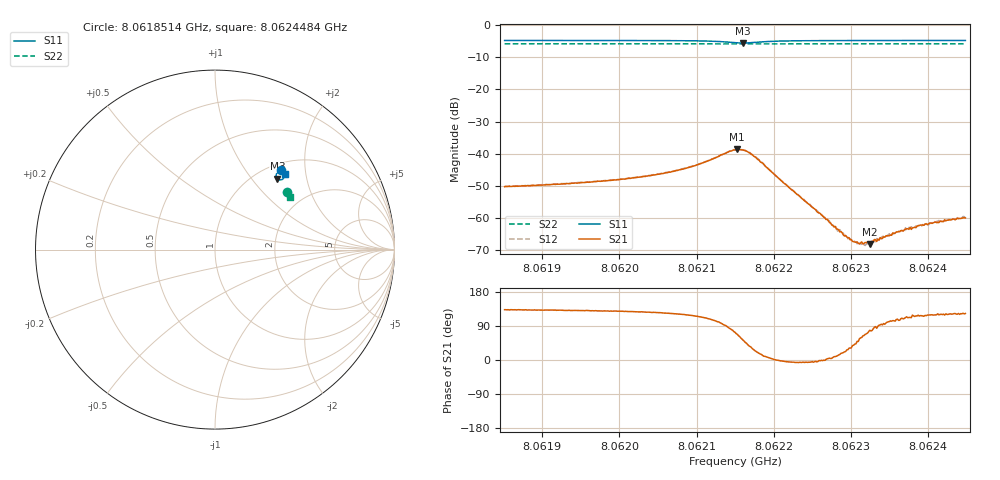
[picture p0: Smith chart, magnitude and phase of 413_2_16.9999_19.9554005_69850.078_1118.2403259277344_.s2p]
#  HZ  S  RI  R  50.00
! Rohde & Schwarz Vector Network Analyzer
! Rohde-Schwarz,ZNB20-2Port,1311601062101988,3.16
! Created: UTC 3/20/2024, 11:10:38 PM
! freq[Hz]  re:S11  im:S11  re:S21  im:S21  re:S12  im:S12  re:S22  im:S22
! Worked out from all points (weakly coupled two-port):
!   401 points, 8.0618514 GHz to 8.0624484 GHz, reference 50 ohm
!   highest |S21| = -38.65 dB at 8.0621528 GHz (marker M1); lowest = -68.0 dB at 8.0623245 GHz (marker M2)
!   lowest |S11| = -5.6 dB at 8.0621603 GHz (marker M3), VSWR 3.22, Z = 62.3 + j67.9 ohm
!   |S11| at or under -10 dB: nowhere
!   |S22| runs from -5.9 to -5.8 dB; largest |S21 - S12| = 0.00089
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8.06185137e9  0.3677 0.4436  -0.00209 0.00227  -0.00199 0.00242  0.3992 0.3203
8.06195136e9  0.3746 0.4372  -0.00234 0.00271  -0.00218 0.00288  0.4029 0.3155
8.06199614e9  0.3781 0.4336  -0.00248 0.00307  -0.00234 0.00322  0.4045 0.3132
8.06205136e9  0.383 0.4274  -0.00276 0.00396  -0.00251 0.00417  0.4066 0.3103
8.06209613e9  0.3871 0.4174  -0.00291 0.00578  -0.00261 0.00598  0.4082 0.3075
8.06214986e9  0.3642 0.3883  0.0033 0.0109  0.00404 0.0108  0.4086 0.304
8.06215284e9  0.3595 0.3889  0.00441 0.0108  0.00521 0.0105  0.4085 0.3039
8.06216031e9  0.348 0.3944  0.00704 0.0091  0.0076 0.00865  0.4083 0.304
8.06216628e9  0.3422 0.4025  0.00818 0.007  0.00865 0.00647  0.4084 0.3044
8.06217971e9  0.3423 0.4215  0.00764 0.00272  0.00802 0.00236  0.4092 0.3044
8.06220657e9  0.3583 0.4347  0.00413 -9.36e-05  0.00419 -0.000355  0.4109 0.3034
8.06224985e9  0.3724 0.4344  0.00148 -0.000109  0.00147 -0.000218  0.413 0.3012
8.06229463e9  0.3796 0.4314  0.000457 0.000227  0.000471 0.000193  0.4149 0.2986
8.06230209e9  0.3806 0.4308  0.000344 0.00027  0.000377 0.000245  0.4152 0.2983
8.06230955e9  0.3815 0.4304  0.000268 0.000307  0.000293 0.00031  0.4154 0.2979
8.06231701e9  0.3822 0.4298  0.000175 0.000368  0.000202 0.000331  0.4156 0.2976
8.06232448e9  0.3829 0.4293  7.94e-05 0.000389  0.000113 0.00035  0.4159 0.2972
8.06234985e9  0.3853 0.4277  -0.000107 0.000525  -7.65e-05 0.000568  0.4168 0.2959
8.06236179e9  0.3864 0.4269  -0.000157 0.000602  -0.000175 0.000599  0.4172 0.2954
8.06238865e9  0.3886 0.4252  -0.000337 0.00069  -0.000299 0.000714  0.4183 0.2939
8.06241104e9  0.3902 0.424  -0.000419 0.000745  -0.000385 0.000803  0.4189 0.2925
8.06244835e9  0.3926 0.4218  -0.000548 0.000851  -0.000483 0.000883  0.4201 0.2909
